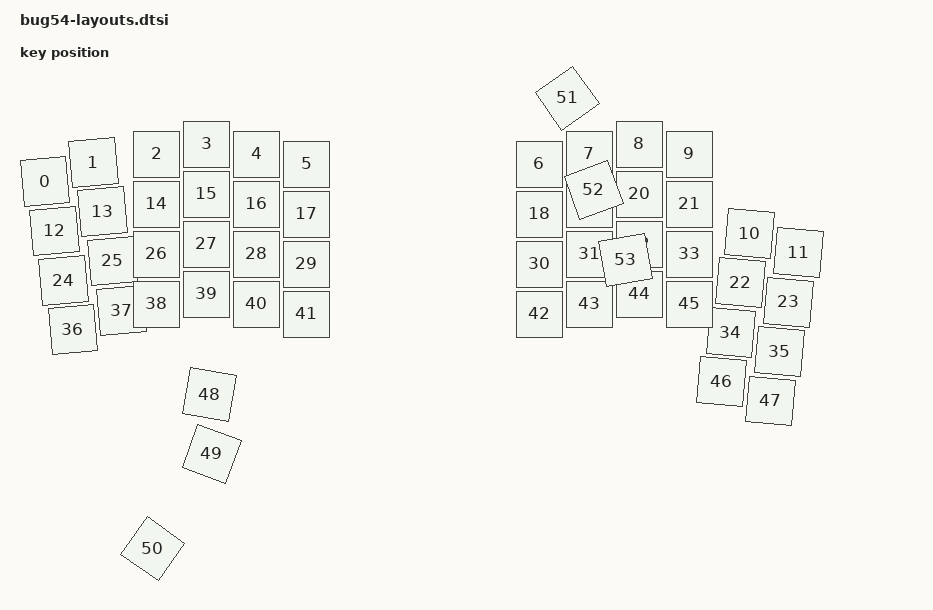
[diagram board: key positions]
#include <physical_layouts.dtsi>

/ {
    physical_layout0: physical_layout_0 {
        compatible = "zmk,physical-layout";
        display-name = "Default Layout";
        transform = <&default_transform>;
        kscan = <&kscan0>;

        keys  //                     w   h    x    y     rot    rx    ry
            = <&key_physical_attrs 100 100    0   80  (-500)     0     0>
            , <&key_physical_attrs 100 100  100   50  (-500)     0     0>
            , <&key_physical_attrs 100 100  235   20       0     0     0>
            , <&key_physical_attrs 100 100  335    0       0     0     0>
            , <&key_physical_attrs 100 100  435   20       0     0     0>
            , <&key_physical_attrs 100 100  535   40       0     0     0>
            , <&key_physical_attrs 100 100 1000   40       0     0     0>
            , <&key_physical_attrs 100 100 1100   20       0     0     0>
            , <&key_physical_attrs 100 100 1200    0       0     0     0>
            , <&key_physical_attrs 100 100 1300   20       0     0     0>
            , <&key_physical_attrs 100 100 1435   50     500     0     0>
            , <&key_physical_attrs 100 100 1535   80     500     0     0>
            , <&key_physical_attrs 100 100   10  180  (-500)     0     0>
            , <&key_physical_attrs 100 100  110  150  (-500)     0     0>
            , <&key_physical_attrs 100 100  235  120       0     0     0>
            , <&key_physical_attrs 100 100  335  100       0     0     0>
            , <&key_physical_attrs 100 100  435  120       0     0     0>
            , <&key_physical_attrs 100 100  535  140       0     0     0>
            , <&key_physical_attrs 100 100 1000  140       0     0     0>
            , <&key_physical_attrs 100 100 1100  120       0     0     0>
            , <&key_physical_attrs 100 100 1200  100       0     0     0>
            , <&key_physical_attrs 100 100 1300  120       0     0     0>
            , <&key_physical_attrs 100 100 1425  150     500     0     0>
            , <&key_physical_attrs 100 100 1525  180     500     0     0>
            , <&key_physical_attrs 100 100   20  280  (-500)     0     0>
            , <&key_physical_attrs 100 100  120  250  (-500)     0     0>
            , <&key_physical_attrs 100 100  235  220       0     0     0>
            , <&key_physical_attrs 100 100  335  200       0     0     0>
            , <&key_physical_attrs 100 100  435  220       0     0     0>
            , <&key_physical_attrs 100 100  535  240       0     0     0>
            , <&key_physical_attrs 100 100 1000  240       0     0     0>
            , <&key_physical_attrs 100 100 1100  220       0     0     0>
            , <&key_physical_attrs 100 100 1200  200       0     0     0>
            , <&key_physical_attrs 100 100 1300  220       0     0     0>
            , <&key_physical_attrs 100 100 1415  250     500     0     0>
            , <&key_physical_attrs 100 100 1515  280     500     0     0>
            , <&key_physical_attrs 100 100   30  380  (-500)     0     0>
            , <&key_physical_attrs 100 100  130  350  (-500)     0     0>
            , <&key_physical_attrs 100 100  235  320       0     0     0>
            , <&key_physical_attrs 100 100  335  300       0     0     0>
            , <&key_physical_attrs 100 100  435  320       0     0     0>
            , <&key_physical_attrs 100 100  535  340       0     0     0>
            , <&key_physical_attrs 100 100 1000  340       0     0     0>
            , <&key_physical_attrs 100 100 1100  320       0     0     0>
            , <&key_physical_attrs 100 100 1200  300       0     0     0>
            , <&key_physical_attrs 100 100 1300  320       0     0     0>
            , <&key_physical_attrs 100 100 1405  350     500     0     0>
            , <&key_physical_attrs 100 100 1505  380     500     0     0>
            , <&key_physical_attrs 100 100  430  425    1000     0     0>
            , <&key_physical_attrs 100 100  550  445    2000     0     0>
            , <&key_physical_attrs 100 100  670  495    3500     0     0>
            , <&key_physical_attrs 100 100  880  550 (-3500)     0     0>
            , <&key_physical_attrs 100 100  990  480 (-2000)     0     0>
            , <&key_physical_attrs 100 100 1105  440 (-1000)     0     0>
            ;
    };
};
